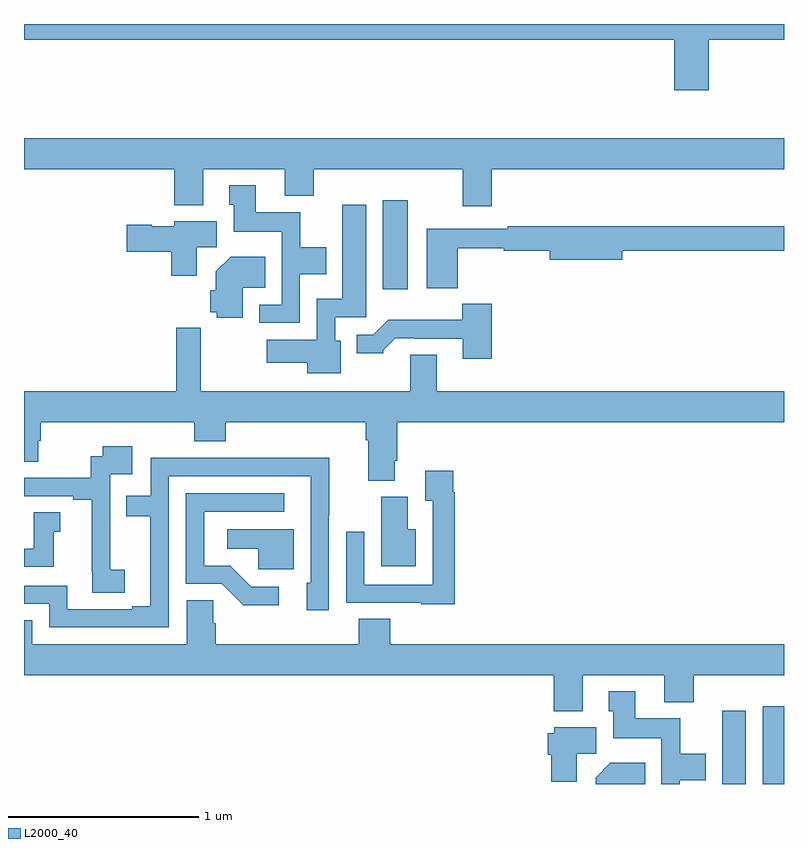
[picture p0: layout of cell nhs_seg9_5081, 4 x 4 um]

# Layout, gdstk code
import gdstk
lib = gdstk.Library(unit=1e-6, precision=1e-09)
def R(c, l, rs):  # rectangles x0, y0, x1, y1
    for r in rs: c.add(gdstk.rectangle(r[:2], r[2:], *l))
def P(c, l, *ps):  # polygons
    for p in ps: c.add(gdstk.Polygon(p, *l))
L2000_40 = (2000, 40)

nhs_seg9_5081 = lib.new_cell('nhs_seg9_5081')
R(nhs_seg9_5081, L2000_40, [(408.674,1210.5,408.799,1210.885), (408.887,1210.5,409,1210.909), (406.889,1213.104,407.02,1213.573)])
P(nhs_seg9_5081, L2000_40, [(408.605,1214.416),(409,1214.416),(409,1214.5),(405,1214.5),(405,1214.416),(408.422,1214.416),(408.422,1214.151),(408.605,1214.151)],
  [(405,1213.736),(405.791,1213.736),(405.791,1213.547),(405.943,1213.547),(405.943,1213.736),(406.373,1213.736),(406.373,1213.595),(406.526,1213.595),(406.526,1213.736),(407.309,1213.736),(407.309,1213.542),(407.462,1213.542),(407.462,1213.736),(409,1213.736),(409,1213.9),(405,1213.9)],
  [(406.452,1213.184),(406.591,1213.184),(406.591,1213.324),(406.455,1213.324),(406.455,1213.51),(406.219,1213.51),(406.219,1213.651),(406.079,1213.651),(406.079,1213.548),(406.103,1213.548),(406.103,1213.406),(406.356,1213.406),(406.356,1213.023),(406.239,1213.023),(406.239,1212.927),(406.452,1212.927)],
  [(406.666,1212.834),(406.638,1212.834),(406.638,1212.957),(406.801,1212.957),(406.801,1213.549),(406.676,1213.549),(406.676,1213.054),(406.542,1213.054),(406.542,1212.838),(406.278,1212.838),(406.278,1212.716),(406.49,1212.716),(406.49,1212.662),(406.666,1212.662)],
  [(405.91,1213.324),(406.015,1213.324),(406.015,1213.462),(405.792,1213.462),(405.792,1213.435),(405.672,1213.435),(405.672,1213.443),(405.54,1213.443),(405.54,1213.301),(405.776,1213.301),(405.776,1213.176),(405.91,1213.176)],
  [(407.282,1213.321),(407.526,1213.321),(407.526,1213.306),(407.768,1213.306),(407.768,1213.259),(408.148,1213.259),(408.148,1213.306),(409,1213.306),(409,1213.435),(407.545,1213.435),(407.545,1213.422),(407.12,1213.422),(407.12,1213.109),(407.282,1213.109)],
  [(406.15,1213.112),(406.271,1213.112),(406.271,1213.276),(406.088,1213.276),(406.01,1213.198),(406.01,1213.098),(405.98,1213.098),(405.98,1212.984),(406.014,1212.984),(406.014,1212.955),(406.15,1212.955)],
  [(407.462,1213.027),(407.307,1213.027),(407.307,1212.943),(406.918,1212.943),(406.839,1212.864),(406.751,1212.864),(406.751,1212.767),(406.89,1212.767),(406.89,1212.782),(406.954,1212.846),(407.053,1212.846),(407.053,1212.843),(407.309,1212.843),(407.309,1212.738),(407.462,1212.738)],
  [(406.951,1212.202),(406.964,1212.202),(406.964,1212.404),(409,1212.404),(409,1212.568),(407.173,1212.568),(407.173,1212.758),(407.033,1212.758),(407.033,1212.568),(405.931,1212.568),(405.931,1212.901),(405.802,1212.901),(405.802,1212.568),(405,1212.568),(405,1212.196),(405.076,1212.196),(405.076,1212.306),(405.089,1212.306),(405.089,1212.404),(405.896,1212.404),(405.896,1212.305),(406.061,1212.305),(406.061,1212.404),(406.799,1212.404),(406.799,1212.308),(406.811,1212.308),(406.811,1212.097),(406.951,1212.097)],
  [(405.529,1211.628),(405.455,1211.628),(405.455,1211.825),(405.453,1211.825),(405.453,1212.129),(405.571,1212.129),(405.571,1212.277),(405.415,1212.277),(405.415,1212.225),(405.352,1212.225),(405.352,1212.111),(405,1212.111),(405,1212.015),(405.26,1212.015),(405.26,1211.995),(405.356,1211.995),(405.356,1211.617),(405.358,1211.617),(405.358,1211.506),(405.529,1211.506)],
  [(405.762,1212.12),(406.509,1212.12),(406.509,1211.559),(406.487,1211.559),(406.487,1211.415),(406.605,1211.415),(406.605,1211.914),(406.607,1211.914),(406.607,1212.218),(406.144,1212.218),(406.144,1212.216),(405.666,1212.216),(405.666,1212.018),(405.538,1212.018),(405.538,1211.91),(405.665,1211.91),(405.665,1211.436),(405.569,1211.436),(405.569,1211.421),(405.228,1211.421),(405.228,1211.544),(405,1211.544),(405,1211.448),(405.132,1211.448),(405.132,1211.325),(405.762,1211.325)],
  [(407.267,1212.035),(407.26,1212.035),(407.26,1212.148),(407.111,1212.148),(407.111,1211.992),(407.151,1211.992),(407.151,1211.55),(406.791,1211.55),(406.791,1211.827),(406.695,1211.827),(406.695,1211.454),(407.091,1211.454),(407.091,1211.447),(407.267,1211.447)],
  [(406.342,1211.538),(406.197,1211.538),(406.086,1211.649),(405.948,1211.649),(405.948,1211.934),(406.369,1211.934),(406.369,1212.03),(405.852,1212.03),(405.852,1211.553),(406.041,1211.553),(406.154,1211.441),(406.342,1211.441)],
  [(407.062,1211.842),(407.02,1211.842),(407.02,1212.012),(406.88,1212.012),(406.88,1211.645),(407.062,1211.645)],
  [(405.157,1211.827),(405.19,1211.827),(405.19,1211.93),(405.05,1211.93),(405.05,1211.739),(405,1211.739),(405,1211.643),(405.157,1211.643)],
  [(406.42,1211.842),(406.071,1211.842),(406.071,1211.738),(406.233,1211.738),(406.233,1211.631),(406.42,1211.631)],
  [(407.941,1211.072),(408.371,1211.072),(408.371,1210.931),(408.524,1210.931),(408.524,1211.072),(409,1211.072),(409,1211.236),(406.928,1211.236),(406.928,1211.369),(406.763,1211.369),(406.763,1211.236),(406.01,1211.236),(406.01,1211.345),(405.996,1211.345),(405.996,1211.468),(405.857,1211.468),(405.857,1211.236),(405.043,1211.236),(405.043,1211.363),(405,1211.363),(405,1211.072),(407.789,1211.072),(407.789,1210.883),(407.941,1210.883)],
  [(408.45,1210.52),(408.589,1210.52),(408.589,1210.66),(408.453,1210.66),(408.453,1210.846),(408.217,1210.846),(408.217,1210.987),(408.077,1210.987),(408.077,1210.884),(408.101,1210.884),(408.101,1210.742),(408.354,1210.742),(408.354,1210.5),(408.45,1210.5)],
  [(407.908,1210.66),(408.013,1210.66),(408.013,1210.798),(407.79,1210.798),(407.79,1210.767),(407.756,1210.767),(407.756,1210.653),(407.774,1210.653),(407.774,1210.512),(407.908,1210.512)],
  [(408.269,1210.612),(408.086,1210.612),(408.008,1210.534),(408.008,1210.5),(408.269,1210.5)])

lib.write_gds('nhs_seg9_5081.gds')
